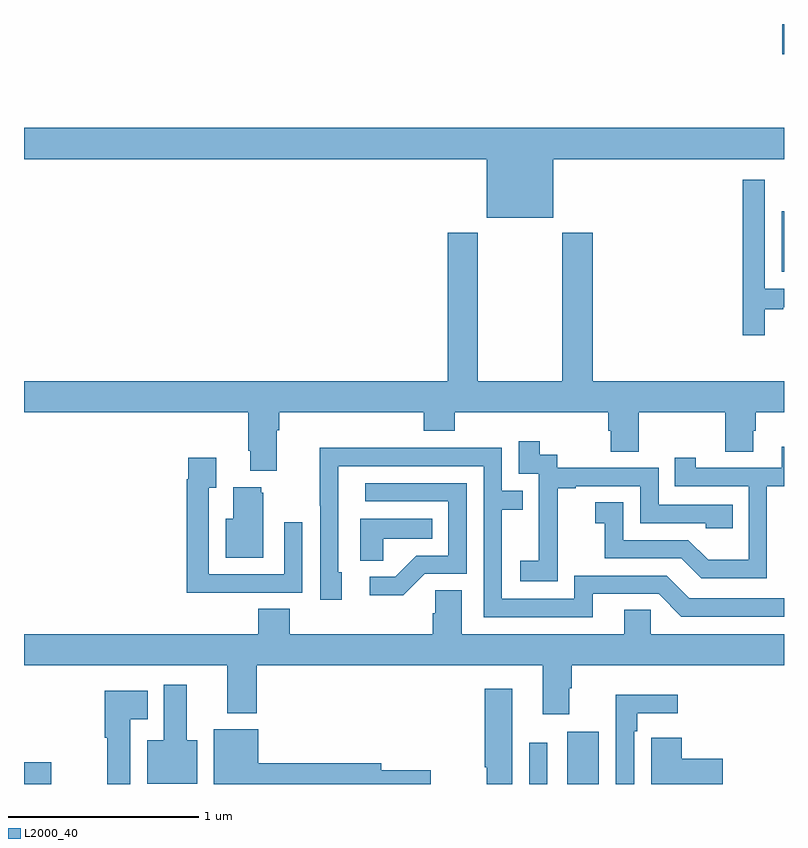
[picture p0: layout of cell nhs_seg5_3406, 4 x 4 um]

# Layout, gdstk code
import gdstk
lib = gdstk.Library(unit=1e-6, precision=1e-09)
def R(c, l, rs):  # rectangles x0, y0, x1, y1
    for r in rs: c.add(gdstk.rectangle(r[:2], r[2:], *l))
def P(c, l, *ps):  # polygons
    for p in ps: c.add(gdstk.Polygon(p, *l))
L2000_40 = (2000, 40)

nhs_seg5_3406 = lib.new_cell('nhs_seg5_3406')
R(nhs_seg5_3406, L2000_40, [(311,858.799,311.143,858.914), (313.659,858.799,313.755,859.015), (313.859,858.799,314.026,859.075), (314.987,861.494,315,861.814), (314.99,862.641,315,862.799)])
P(nhs_seg5_3406, L2000_40, [(313.786,862.088),(315,862.088),(315,862.252),(311,862.252),(311,862.088),(313.436,862.088),(313.436,861.779),(313.786,861.779)],
  [(314.899,861.297),(314.995,861.297),(314.995,861.309),(315,861.309),(315,861.405),(314.898,861.405),(314.898,861.979),(314.782,861.979),(314.782,861.162),(314.899,861.162)],
  [(314.075,860.658),(314.087,860.658),(314.087,860.548),(314.235,860.548),(314.235,860.756),(314.692,860.756),(314.692,860.548),(314.839,860.548),(314.839,860.658),(314.852,860.658),(314.852,860.756),(315,860.756),(315,860.92),(313.994,860.92),(313.994,861.7),(313.834,861.7),(313.834,860.92),(313.389,860.92),(313.389,861.7),(313.229,861.7),(313.229,860.92),(311,860.92),(311,860.756),(312.179,860.756),(312.179,860.554),(312.191,860.554),(312.191,860.447),(312.331,860.447),(312.331,860.66),(312.344,860.66),(312.344,860.756),(313.103,860.756),(313.103,860.657),(313.268,860.657),(313.268,860.756),(314.075,860.756)],
  [(313.809,860.071),(313.808,860.071),(313.808,860.355),(313.903,860.355),(313.903,860.367),(314.244,860.367),(314.244,860.172),(314.589,860.172),(314.589,860.145),(314.729,860.145),(314.729,860.268),(314.34,860.268),(314.34,860.463),(313.806,860.463),(313.806,860.532),(313.714,860.532),(313.714,860.602),(313.605,860.602),(313.605,860.433),(313.71,860.433),(313.71,860.204),(313.709,860.204),(313.709,859.975),(313.611,859.975),(313.611,859.865),(313.809,859.865)],
  [(314.91,860.367),(315,860.367),(315,860.575),(314.987,860.575),(314.987,860.463),(314.536,860.463),(314.536,860.515),(314.425,860.515),(314.425,860.367),(314.814,860.367),(314.814,859.978),(314.6,859.978),(314.496,860.082),(314.154,860.082),(314.154,860.281),(314.007,860.281),(314.007,860.171),(314.056,860.171),(314.056,859.986),(314.459,859.986),(314.564,859.881),(314.91,859.881)],
  [(313.993,859.8),(314.34,859.8),(314.46,859.68),(315,859.68),(315,859.776),(314.502,859.776),(314.382,859.896),(313.896,859.896),(313.896,859.773),(313.515,859.773),(313.515,860.242),(313.625,860.242),(313.625,860.343),(313.515,860.343),(313.515,860.568),(313.019,860.568),(313.019,860.57),(312.556,860.57),(312.556,860.263),(312.558,860.263),(312.558,859.77),(312.673,859.77),(312.673,859.914),(312.654,859.914),(312.654,860.472),(313.419,860.472),(313.419,859.677),(313.993,859.677)],
  [(312.149,859.806),(312.465,859.806),(312.465,860.176),(312.369,860.176),(312.369,859.902),(311.973,859.902),(311.973,860.359),(312.013,860.359),(312.013,860.515),(311.865,860.515),(311.865,860.402),(311.857,860.402),(311.857,859.805),(312.149,859.805)],
  [(313.11,859.905),(313.329,859.905),(313.329,860.382),(312.795,860.382),(312.795,860.286),(313.233,860.286),(313.233,860.001),(313.064,860.001),(312.953,859.89),(312.819,859.89),(312.819,859.793),(312.997,859.793)],
  [(312.259,860.331),(312.248,860.331),(312.248,860.362),(312.101,860.362),(312.101,860.194),(312.062,860.194),(312.062,859.991),(312.259,859.991)],
  [(312.891,860.09),(313.148,860.09),(313.148,860.194),(312.77,860.194),(312.77,859.975),(312.891,859.975)],
  [(313.87,859.304),(313.883,859.304),(313.883,859.424),(315,859.424),(315,859.588),(314.298,859.588),(314.298,859.715),(314.159,859.715),(314.159,859.588),(313.303,859.588),(313.303,859.82),(313.164,859.82),(313.164,859.697),(313.151,859.697),(313.151,859.588),(312.398,859.588),(312.398,859.721),(312.233,859.721),(312.233,859.588),(311,859.588),(311,859.424),(312.071,859.424),(312.071,859.172),(312.224,859.172),(312.224,859.424),(313.73,859.424),(313.73,859.167),(313.87,859.167)],
  [(311.911,859.03),(311.857,859.03),(311.857,859.321),(311.735,859.321),(311.735,859.03),(311.648,859.03),(311.648,858.8),(311.911,858.8)],
  [(313.57,859.3),(313.424,859.3),(313.424,858.887),(313.436,858.887),(313.436,858.799),(313.57,858.799)],
  [(311.56,859.139),(311.65,859.139),(311.65,859.291),(311.426,859.291),(311.426,859.043),(311.438,859.043),(311.438,858.799),(311.56,858.799)],
  [(314.211,859.076),(314.227,859.076),(314.227,859.172),(314.44,859.172),(314.44,859.27),(314.115,859.27),(314.115,858.799),(314.211,858.799)],
  [(313.141,858.872),(312.88,858.872),(312.88,858.908),(312.232,858.908),(312.232,859.087),(311.999,859.087),(311.999,858.799),(313.141,858.799)],
  [(314.677,858.932),(314.462,858.932),(314.462,859.042),(314.301,859.042),(314.301,858.929),(314.3,858.929),(314.3,858.799),(314.677,858.799)])

lib.write_gds('nhs_seg5_3406.gds')
